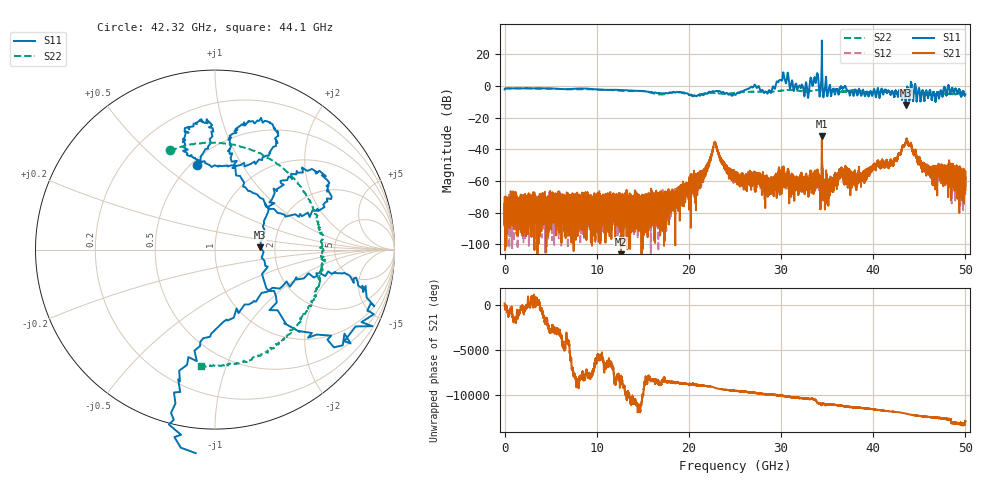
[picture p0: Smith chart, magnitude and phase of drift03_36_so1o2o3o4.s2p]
!Created with skrf (http://scikit-rf.org).
# Hz S RI R 50.0
!freq ReS11 ImS11 ReS21 ImS21 ReS12 ImS12 ReS22 ImS22
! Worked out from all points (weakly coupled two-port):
!   10000 points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, 5.3 MHz to 50 GHz, reference 50 ohm
!   highest |S21| = -31.81 dB at 34.43 GHz (marker M1); lowest = -111.4 dB at 12.63 GHz (marker M2)
!   lowest |S11| = -11.9 dB at 43.52 GHz (marker M3), VSWR 1.68, Z = 83.8 + j2.3 ohm
!   |S11| at or under -10 dB: 43.4847 GHz to 43.55353 GHz (68.83 MHz wide, 0.158 % of centre)
!   |S22| runs from -5.9 to -1.3 dB; largest |S21 - S12| = 0.0095
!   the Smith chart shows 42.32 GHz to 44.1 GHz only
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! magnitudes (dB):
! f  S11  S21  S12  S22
! 5.3 MHz  -2.1  -70.4  -86.6  -2.1
! 390.3 MHz  -1.4  -86.4  -73.5  -1.5
! 8.34 GHz  -1.5  -82.8  -75.2  -1.9
! 12.63 GHz  -2.5  -111.4  -75.3  -2.9
! 16.67 GHz  -4.4  -79.8  -82.3  -5.2
! 21.02 GHz  -5.6  -58.2  -60.0  -5.5
! 21.9 GHz  -4.7  -51.4  -52.7  -4.4
! 22.81 GHz  -3.5  -35.6  -35.2  -4.5
! 25.01 GHz  -5.5  -55.2  -56.3  -4.3
! 27.02 GHz  -0.3  -57.3  -58.0  -3.5
! 28.72 GHz  -2.5  -60.9  -60.6  -3.6
! 30.14 GHz  4.4  -58.6  -57.3  -2.7
! 32.74 GHz  2.0  -60.5  -61.5  -3.3
! 33.34 GHz  2.6  -62.5  -61.5  -2.9
! 34.43 GHz  28.9  -31.8  -34.1  -2.2
! 35.25 GHz  -0.5  -62.9  -63.2  -2.6
! 36.5 GHz  -0.4  -57.3  -54.1  -3.8
! 38.06 GHz  -2.2  -58.2  -57.8  -2.8
! 41.67 GHz  -3.0  -51.8  -49.6  -3.6
! 43.52 GHz  -11.9  -35.4  -35.5  -4.2
! 46.28 GHz  -5.6  -53.9  -55.3  -5.7
! 50 GHz  -5.2  -63.1  -60.6  -5.0
